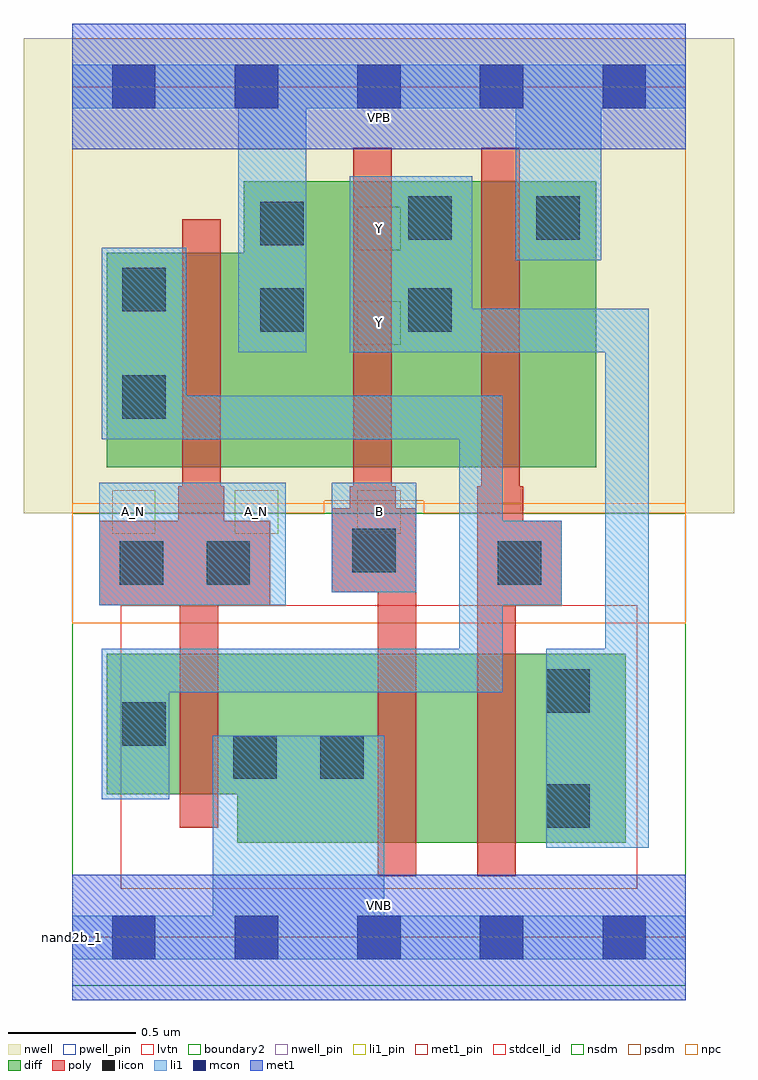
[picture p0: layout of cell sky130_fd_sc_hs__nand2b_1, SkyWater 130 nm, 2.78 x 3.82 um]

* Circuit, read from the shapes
.subckt sky130_fd_sc_hs__nand2b_1 A_N B VGND VNB VPB VPWR Y
XM1 VGND A_N n1 VNB sky130_fd_pr__nfet_01v8_lvt w=0.55 l=0.15
XM2 n2 B VGND VNB sky130_fd_pr__nfet_01v8_lvt w=0.74 l=0.15
XM3 Y n1 n2 VNB sky130_fd_pr__nfet_01v8_lvt w=0.74 l=0.15
XM4 VPWR A_N n1 VPB sky130_fd_pr__pfet_01v8 w=0.84 l=0.15
XM5 Y B VPWR VPB sky130_fd_pr__pfet_01v8 w=1.12 l=0.15
XM6 VPWR n1 Y VPB sky130_fd_pr__pfet_01v8 w=1.12 l=0.15
.ends

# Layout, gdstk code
import gdstk
lib = gdstk.Library(unit=1e-6, precision=1e-09)
def R(c, l, rs):  # rectangles x0, y0, x1, y1
    for r in rs: c.add(gdstk.rectangle(r[:2], r[2:], *l))
def A(c, l, x, y, w, h, nx, ny, dx, dy):  # array of equal rectangles
    R(c, l, [(x+i*dx, y+j*dy, x+i*dx+w, y+j*dy+h) for i in range(nx) for j in range(ny)])
def P(c, l, *ps):  # polygons
    for p in ps: c.add(gdstk.Polygon(p, *l))
nwell_pin = (64, 16)
nwell = (64, 20)
diff = (65, 20)
poly = (66, 20)
licon = (66, 44)
li1_pin = (67, 16)
li1 = (67, 20)
mcon = (67, 44)
met1_pin = (68, 16)
met1 = (68, 20)
stdcell_id = (81, 4)
nsdm = (93, 44)
psdm = (94, 20)
npc = (95, 20)
pwell_pin = (122, 16)
lvtn = (125, 44)
boundary2 = (236, 0)

sky130_fd_sc_hs__nand2b_ = lib.new_cell('sky130_fd_sc_hs__nand2b_1')
R(sky130_fd_sc_hs__nand2b_, nwell_pin, [(0,3.085,2.4,3.33)])
R(sky130_fd_sc_hs__nand2b_, nwell, [(-0.19,1.66,2.59,3.52)])
P(sky130_fd_sc_hs__nand2b_, diff, [(2.165,1.11),(0.135,1.11),(0.135,0.56),(0.645,0.56),(0.645,0.37),(2.165,0.37)],
  [(2.05,2.96),(0.67,2.96),(0.67,2.68),(0.135,2.68),(0.135,1.84),(2.05,1.84)])
P(sky130_fd_sc_hs__nand2b_, poly, [(0.775,1.63),(0.595,1.63),(0.595,1.765),(0.58,1.765),(0.58,2.81),(0.43,2.81),(0.43,1.765),(0.415,1.765),(0.415,1.63),(0.105,1.63),(0.105,1.3),(0.42,1.3),(0.42,0.43),(0.57,0.43),(0.57,1.3),(0.775,1.3)],
  [(1.345,1.68),(1.265,1.68),(1.265,1.765),(1.25,1.765),(1.25,3.09),(1.1,3.09),(1.1,1.765),(1.085,1.765),(1.085,1.68),(1.015,1.68),(1.015,1.35),(1.195,1.35),(1.195,0.24),(1.345,0.24)],
  [(1.915,1.63),(1.765,1.63),(1.765,1.765),(1.75,1.765),(1.75,3.09),(1.6,3.09),(1.6,1.765),(1.585,1.765),(1.585,0.24),(1.735,0.24),(1.735,1.3),(1.915,1.3)])
R(sky130_fd_sc_hs__nand2b_, licon, [(1.855,0.43,2.025,0.6), (0.63,0.62,0.8,0.79), (0.97,0.62,1.14,0.79), (0.195,0.75,0.365,0.92), (1.855,0.88,2.025,1.05), (0.185,1.38,0.355,1.55), (0.525,1.38,0.695,1.55), (1.665,1.38,1.835,1.55), (1.095,1.43,1.265,1.6), (0.195,2.03,0.365,2.2), (0.735,2.37,0.905,2.54), (1.315,2.37,1.485,2.54), (0.195,2.45,0.365,2.62), (0.735,2.71,0.905,2.88), (1.315,2.73,1.485,2.9), (1.815,2.73,1.985,2.9)])
A(sky130_fd_sc_hs__nand2b_, li1_pin, 0.155, 1.58, 0.17, 0.17, 3, 1, 0.48, 0)
R(sky130_fd_sc_hs__nand2b_, li1_pin, [(1.115,2.32,1.285,2.49), (1.115,2.69,1.285,2.86)])
R(sky130_fd_sc_hs__nand2b_, li1, [(0.105,1.3,0.835,1.78), (1.015,1.35,1.345,1.78)])
P(sky130_fd_sc_hs__nand2b_, li1, [(0.65,2.29),(0.65,3.245),(0,3.245),(0,3.415),(2.4,3.415),(2.4,3.245),(2.07,3.245),(2.07,2.65),(1.735,2.65),(1.735,3.245),(0.915,3.245),(0.915,2.29)],
  [(0.55,0.085),(0.55,0.79),(1.22,0.79),(1.22,0.085),(2.4,0.085),(2.4,-0.085),(0,-0.085),(0,0.085)],
  [(1.685,0.96),(0.38,0.96),(0.38,0.54),(0.115,0.54),(0.115,1.13),(1.515,1.13),(1.515,1.95),(0.115,1.95),(0.115,2.7),(0.445,2.7),(0.445,2.12),(1.685,2.12),(1.685,1.63),(1.915,1.63),(1.915,1.3),(1.685,1.3)],
  [(1.085,2.29),(1.085,2.98),(1.565,2.98),(1.565,2.46),(2.255,2.46),(2.255,0.35),(1.855,0.35),(1.855,1.13),(2.085,1.13),(2.085,2.29)])
A(sky130_fd_sc_hs__nand2b_, mcon, 0.155, -0.085, 0.17, 0.17, 5, 2, 0.48, 3.33)
R(sky130_fd_sc_hs__nand2b_, met1_pin, [(0,0,2.4,0.245), (0,3.085,2.4,3.33)])
R(sky130_fd_sc_hs__nand2b_, met1, [(0,-0.245,2.4,0.245), (0,3.085,2.4,3.575)])
R(sky130_fd_sc_hs__nand2b_, stdcell_id, [(0,0,2.4,3.33)])
R(sky130_fd_sc_hs__nand2b_, nsdm, [(0,-0.19,2.4,1.66)])
P(sky130_fd_sc_hs__nand2b_, psdm, [(2.4,3.52),(0,3.52),(0,1.66),(0.985,1.66),(0.985,1.71),(1.375,1.71),(1.375,1.66),(2.4,1.66)])
R(sky130_fd_sc_hs__nand2b_, npc, [(0,1.23,2.4,1.7)])
R(sky130_fd_sc_hs__nand2b_, pwell_pin, [(0,0,2.4,0.245)])
R(sky130_fd_sc_hs__nand2b_, lvtn, [(0.19,0.19,2.21,1.3)])
R(sky130_fd_sc_hs__nand2b_, boundary2, [(0,0,2.4,3.33)])
sky130_fd_sc_hs__nand2b_.add(gdstk.Label('nand2b_1', (0,0), layer=83, texttype=44))
sky130_fd_sc_hs__nand2b_.add(gdstk.Label('VNB', (1.2,0.123), layer=64, texttype=59))
sky130_fd_sc_hs__nand2b_.add(gdstk.Label('VPB', (1.2,3.208), layer=64, texttype=5))
sky130_fd_sc_hs__nand2b_.add(gdstk.Label('VPWR', (1.2,3.208), layer=68, texttype=5))
sky130_fd_sc_hs__nand2b_.add(gdstk.Label('VGND', (1.2,0.123), layer=68, texttype=5))
sky130_fd_sc_hs__nand2b_.add(gdstk.Label('A_N', (0.24,1.665), layer=67, texttype=5))
sky130_fd_sc_hs__nand2b_.add(gdstk.Label('A_N', (0.72,1.665), layer=67, texttype=5))
sky130_fd_sc_hs__nand2b_.add(gdstk.Label('B', (1.2,1.665), layer=67, texttype=5))
sky130_fd_sc_hs__nand2b_.add(gdstk.Label('Y', (1.2,2.405), layer=67, texttype=5))
sky130_fd_sc_hs__nand2b_.add(gdstk.Label('Y', (1.2,2.775), layer=67, texttype=5))

lib.write_gds('sky130_fd_sc_hs__nand2b_1.gds')
